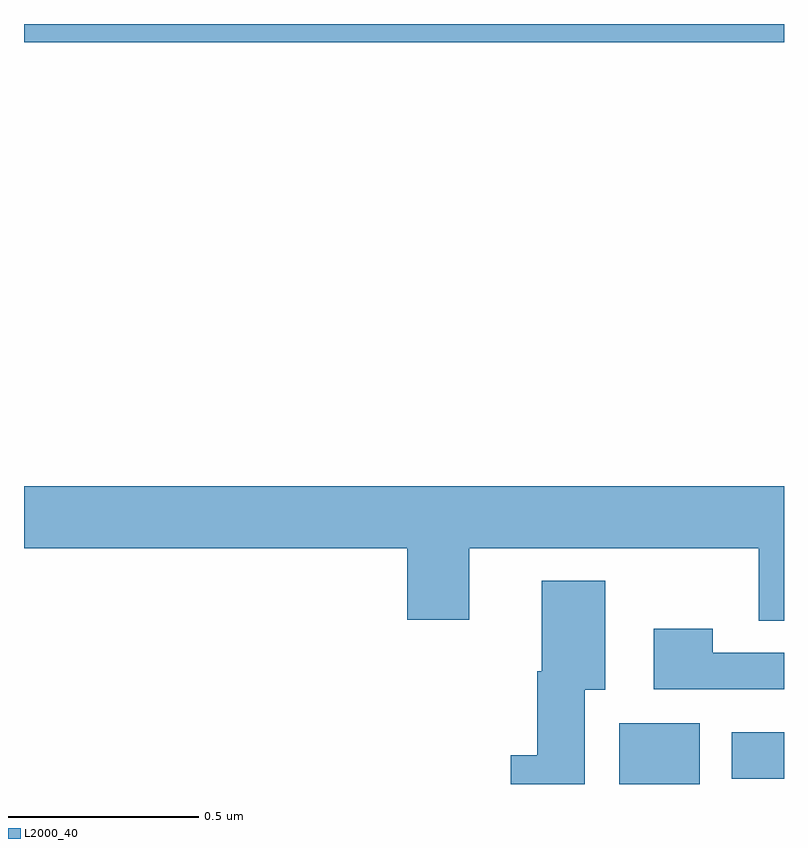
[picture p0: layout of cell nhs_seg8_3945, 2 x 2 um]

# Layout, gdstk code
import gdstk
lib = gdstk.Library(unit=1e-6, precision=1e-09)
def R(c, l, rs):  # rectangles x0, y0, x1, y1
    for r in rs: c.add(gdstk.rectangle(r[:2], r[2:], *l))
def P(c, l, *ps):  # polygons
    for p in ps: c.add(gdstk.Polygon(p, *l))
L2000_40 = (2000, 40)

nhs_seg8_3945 = lib.new_cell('nhs_seg8_3945')
R(nhs_seg8_3945, L2000_40, [(165.566,1095.9,165.778,1096.06), (165.863,1095.914,166,1096.036), (164,1097.852,166,1097.9)])
P(nhs_seg8_3945, L2000_40, [(166,1096.684),(164,1096.684),(164,1096.52),(165.008,1096.52),(165.008,1096.332),(165.172,1096.332),(165.172,1096.52),(165.934,1096.52),(165.934,1096.33),(166,1096.33)],
  [(165.475,1096.148),(165.529,1096.148),(165.529,1096.435),(165.362,1096.435),(165.362,1096.197),(165.35,1096.197),(165.35,1095.976),(165.281,1095.976),(165.281,1095.9),(165.475,1095.9)],
  [(166,1096.245),(165.813,1096.245),(165.813,1096.309),(165.657,1096.309),(165.657,1096.149),(166,1096.149)])

lib.write_gds('nhs_seg8_3945.gds')
